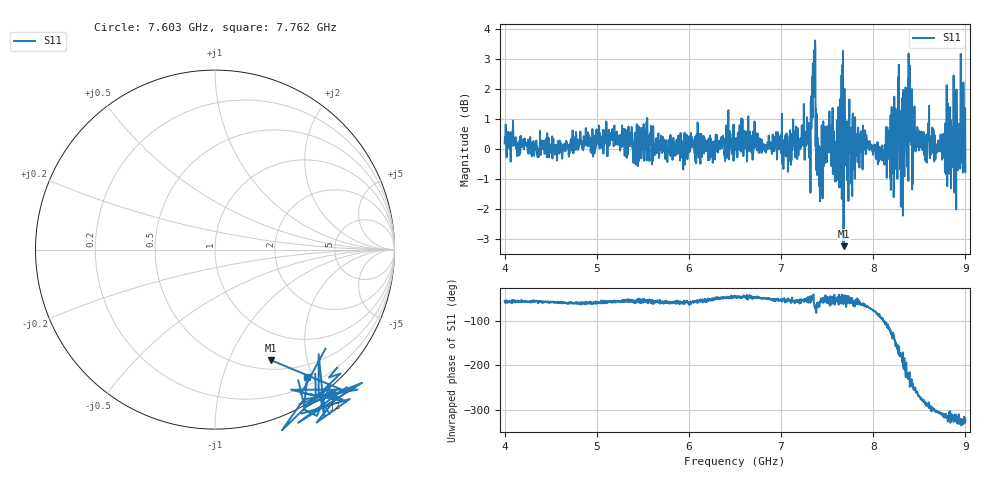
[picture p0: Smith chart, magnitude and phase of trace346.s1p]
! Created with skrf 1.8.0 (http://scikit-rf.org).
# Hz S RI R 50.0
!freq ReS11 ImS11
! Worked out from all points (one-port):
!   1601 points, 4 GHz to 9 GHz, reference 50 ohm
!   lowest |S11| = -3.2 dB at 7.678 GHz (marker M1), VSWR 5.45, Z = 30.7 - j72.1 ohm
!   |S11| at or under -10 dB: nowhere
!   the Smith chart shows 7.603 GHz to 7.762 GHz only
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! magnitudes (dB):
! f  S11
! 4 GHz  0.2
! 4.625 GHz  -0.3
! 5.25 GHz  0.1
! 5.875 GHz  0.2
! 6.5 GHz  0.2
! 7.125 GHz  0.2
! 7.294 GHz  0.3
! 7.316 GHz  0.3
! 7.347 GHz  2.9
! 7.369 GHz  3.6
! 7.4 GHz  -0.5
! 7.428 GHz  -0.5
! 7.503 GHz  0.3
! 7.591 GHz  -0.1
! 7.647 GHz  1.0
! 7.678 GHz  -3.2
! 7.75 GHz  0.1
! 7.891 GHz  0.2
! 8.097 GHz  0.1
! 8.253 GHz  -0.1
! 8.294 GHz  -0.5
! 8.312 GHz  1.7
! 8.375 GHz  1.5
! 8.447 GHz  1.4
! 8.556 GHz  -0.2
! 8.841 GHz  1.0
! 8.972 GHz  0.2
! 9 GHz  -0.8
